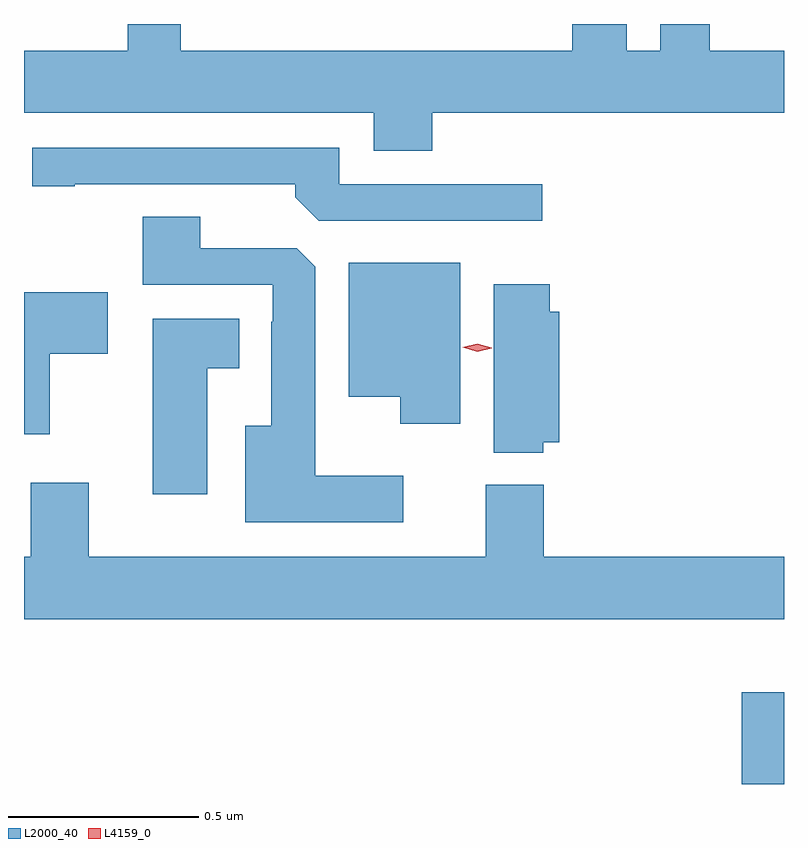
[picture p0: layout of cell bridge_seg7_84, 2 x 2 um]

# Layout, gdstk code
import gdstk
lib = gdstk.Library(unit=1e-6, precision=1e-09)
def R(c, l, rs):  # rectangles x0, y0, x1, y1
    for r in rs: c.add(gdstk.rectangle(r[:2], r[2:], *l))
def P(c, l, *ps):  # polygons
    for p in ps: c.add(gdstk.Polygon(p, *l))
L2000_40 = (2000, 40)
L4159_0 = (4159, 0)

bridge_seg7_84 = lib.new_cell('bridge_seg7_84')
R(bridge_seg7_84, L2000_40, [(1081.087,998.85,1081.198,999.091)])
P(bridge_seg7_84, L2000_40, [(1080.272,1000.616),(1081.198,1000.616),(1081.198,1000.78),(1081.003,1000.78),(1081.003,1000.85),(1080.872,1000.85),(1080.872,1000.78),(1080.784,1000.78),(1080.784,1000.85),(1080.641,1000.85),(1080.641,1000.78),(1079.611,1000.78),(1079.611,1000.85),(1079.471,1000.85),(1079.471,1000.78),(1079.198,1000.78),(1079.198,1000.616),(1080.119,1000.616),(1080.119,1000.517),(1080.272,1000.517)],
  [(1080.562,1000.428),(1080.027,1000.428),(1080.027,1000.524),(1079.22,1000.524),(1079.22,1000.423),(1079.332,1000.423),(1079.332,1000.428),(1079.912,1000.428),(1079.912,1000.394),(1079.973,1000.332),(1080.562,1000.332)],
  [(1080.196,999.661),(1079.965,999.661),(1079.965,1000.211),(1079.916,1000.26),(1079.662,1000.26),(1079.662,1000.343),(1079.51,1000.343),(1079.51,1000.164),(1079.853,1000.164),(1079.853,1000.067),(1079.849,1000.067),(1079.849,999.793),(1079.78,999.793),(1079.78,999.539),(1080.196,999.539)],
  [(1080.346,1000.222),(1080.053,1000.222),(1080.053,999.869),(1080.188,999.869),(1080.188,999.798),(1080.346,999.798)],
  [(1080.564,999.749),(1080.607,999.749),(1080.607,1000.093),(1080.581,1000.093),(1080.581,1000.165),(1080.434,1000.165),(1080.434,999.722),(1080.564,999.722)],
  [(1079.266,999.982),(1079.419,999.982),(1079.419,1000.144),(1079.198,1000.144),(1079.198,999.771),(1079.266,999.771)],
  [(1079.68,999.944),(1079.764,999.944),(1079.764,1000.075),(1079.537,1000.075),(1079.537,999.612),(1079.68,999.612)],
  [(1081.198,999.448),(1080.566,999.448),(1080.566,999.637),(1080.413,999.637),(1080.413,999.448),(1079.368,999.448),(1079.368,999.643),(1079.216,999.643),(1079.216,999.448),(1079.198,999.448),(1079.198,999.284),(1081.198,999.284)])
P(bridge_seg7_84, L4159_0, [(1080.391,999.988),(1080.353,999.999),(1080.353,999.999),(1080.353,999.999),(1080.391,1000.008),(1080.429,999.998),(1080.429,999.997),(1080.429,999.997)])

lib.write_gds('bridge_seg7_84.gds')
